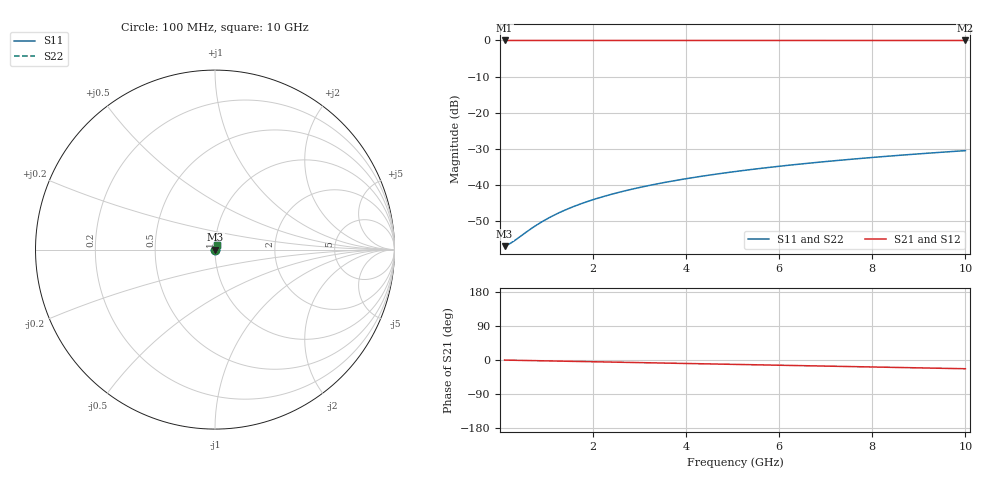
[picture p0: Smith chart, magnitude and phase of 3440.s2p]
# Hz S RI R 50.00
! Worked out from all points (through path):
!   100 points, 100 MHz to 10 GHz, reference 50 ohm
!   highest |S21| = -0.01 dB at 100 MHz (marker M1); lowest = 0.0 dB at 10 GHz (marker M2)
!   group delay of S21, straight-line fit = 6.41 ps
!   lowest |S11| = -56.8 dB at 100 MHz (marker M3), VSWR 1.00, Z = 50.1 + j0.0303 ohm
!   |S11| at or under -10 dB: start of sweep to end of sweep
!   |S22| runs from -56.8 to -30.4 dB; largest |S21 - S12| = 0
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1e8  0.00141 0.000303  0.9986 -0.00399  0.9986 -0.00399  0.00141 0.000303
2e8  0.00142 0.000605  0.9985 -0.00798  0.9985 -0.00798  0.00142 0.000605
3e8  0.00143 0.000907  0.9985 -0.012  0.9985 -0.012  0.00143 0.000907
7e8  0.00149 0.00211  0.9982 -0.0279  0.9982 -0.0279  0.00149 0.00211
8e8  0.00151 0.00242  0.998 -0.0319  0.998 -0.0319  0.00151 0.00242
1e9  0.00156 0.00302  0.9977 -0.0399  0.9977 -0.0399  0.00156 0.00302
1.2e9  0.00161 0.00362  0.9974 -0.0479  0.9974 -0.0479  0.00161 0.00362
1.4e9  0.00168 0.00422  0.9969 -0.0558  0.9969 -0.0558  0.00168 0.00422
1.6e9  0.00175 0.00482  0.9964 -0.0638  0.9964 -0.0638  0.00175 0.00482
1.8e9  0.00183 0.00541  0.9959 -0.0718  0.9959 -0.0718  0.00183 0.00541
2.1e9  0.00198 0.0063  0.9949 -0.0837  0.9949 -0.0837  0.00198 0.0063
2.5e9  0.0022 0.00749  0.9935 -0.0997  0.9935 -0.0997  0.0022 0.00749
2.9e9  0.00246 0.00866  0.9917 -0.1156  0.9917 -0.1156  0.00246 0.00866
3.4e9  0.00284 0.0101  0.9892 -0.1354  0.9892 -0.1354  0.00284 0.0101
3.8e9  0.00318 0.0113  0.9868 -0.1513  0.9868 -0.1513  0.00318 0.0113
4.2e9  0.00356 0.0124  0.9842 -0.1671  0.9842 -0.1671  0.00356 0.0124
5.1e9  0.00455 0.0149  0.9775 -0.2026  0.9775 -0.2026  0.00455 0.0149
5.9e9  0.00559 0.0171  0.9704 -0.234  0.9704 -0.234  0.00559 0.0171
6.7e9  0.00676 0.0192  0.9623 -0.2652  0.9623 -0.2652  0.00676 0.0192
7.5e9  0.00807 0.0212  0.9531 -0.2961  0.9531 -0.2961  0.00807 0.0212
8.4e9  0.00971 0.0234  0.9416 -0.3306  0.9416 -0.3306  0.00971 0.0234
1e10  0.013 0.0271  0.918 -0.391  0.918 -0.391  0.013 0.0271
